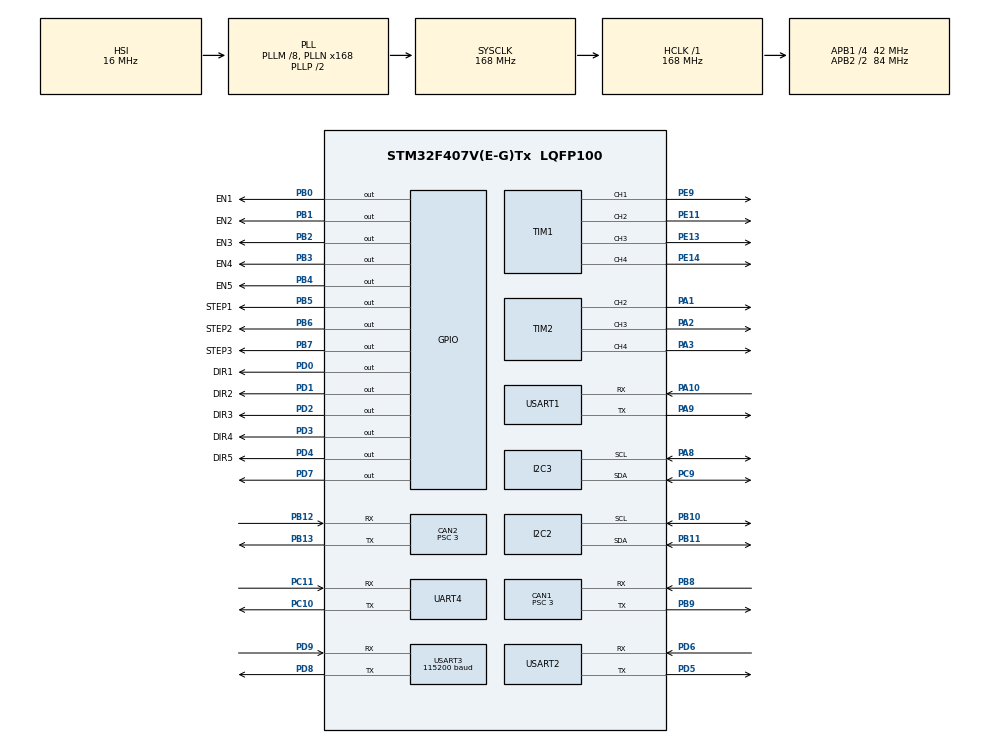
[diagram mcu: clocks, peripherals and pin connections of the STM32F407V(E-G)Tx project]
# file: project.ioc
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CAN1.BS1=CAN_BS1_10TQ
CAN1.BS2=CAN_BS2_3TQ
CAN1.CalculateBaudRate=1000000
CAN1.CalculateTimeBit=1000
CAN1.CalculateTimeQuantum=71.42857142857143
CAN1.Prescaler=3
CAN2.BS1=CAN_BS1_10TQ
CAN2.BS2=CAN_BS2_3TQ
CAN2.CalculateBaudRate=1000000
CAN2.CalculateTimeBit=1000
CAN2.CalculateTimeQuantum=71.42857142857143
CAN2.Prescaler=3
Dma.Request0=USART2_RX
Dma.USART2_RX.0.Direction=DMA_PERIPH_TO_MEMORY
Dma.USART2_RX.0.FIFOMode=DMA_FIFOMODE_DISABLE
Dma.USART2_RX.0.Instance=DMA1_Stream5
Dma.USART2_RX.0.MemDataAlignment=DMA_MDATAALIGN_BYTE
Dma.USART2_RX.0.MemInc=DMA_MINC_ENABLE
Dma.USART2_RX.0.Mode=DMA_NORMAL
Dma.USART2_RX.0.PeriphDataAlignment=DMA_PDATAALIGN_BYTE
Dma.USART2_RX.0.PeriphInc=DMA_PINC_DISABLE
Dma.USART2_RX.0.Priority=DMA_PRIORITY_VERY_HIGH
FREERTOS.Tasks01=defaultTask,24,128,StartDefaultTask,Default,NULL,Dynamic,NULL,NULL;LCDTask,8,128,LCDCtrl,Default,NULL,Dynamic,NULL,NULL
FREERTOS.configUSE_NEWLIB_REENTRANT=1
I2C2.I2C_Mode=I2C_Fast
Mcu.Family=STM32F4
Mcu.Name=STM32F407V(E-G)Tx
Mcu.Package=LQFP100
NVIC.CAN1_RX0_IRQn=true\:5\:0\:false\:false\:true\:true\:true\:true\:true
NVIC.CAN1_RX1_IRQn=true\:5\:0\:false\:false\:true\:true\:true\:true\:true
NVIC.CAN1_TX_IRQn=true\:5\:0\:false\:false\:true\:true\:true\:true\:true
NVIC.CAN2_RX0_IRQn=true\:5\:0\:false\:false\:true\:true\:true\:true\:true
NVIC.CAN2_RX1_IRQn=true\:5\:0\:false\:false\:true\:true\:true\:true\:true
NVIC.CAN2_TX_IRQn=true\:5\:0\:false\:false\:true\:true\:true\:true\:true
NVIC.DMA1_Stream5_IRQn=true\:5\:0\:true\:false\:true\:true\:false\:true\:true
NVIC.PriorityGroup=NVIC_PRIORITYGROUP_4
NVIC.TIM1_BRK_TIM9_IRQn=true\:5\:0\:false\:false\:true\:true\:true\:true\:true
NVIC.TIM2_IRQn=true\:5\:0\:false\:false\:true\:true\:true\:true\:true
NVIC.TIM7_IRQn=true\:15\:0\:false\:false\:true\:false\:false\:true\:true
NVIC.TimeBase=TIM7_IRQn
NVIC.TimeBaseIP=TIM7
NVIC.UART4_IRQn=true\:5\:0\:false\:false\:true\:true\:true\:true\:true
NVIC.USART1_IRQn=true\:5\:0\:false\:false\:true\:true\:true\:true\:true
NVIC.USART2_IRQn=true\:5\:0\:false\:false\:true\:true\:true\:true\:true
NVIC.USART3_IRQn=true\:5\:0\:false\:false\:true\:true\:true\:true\:true
PA1.Signal=S_TIM2_CH2
PA10.Mode=Asynchronous
PA10.Signal=USART1_RX
PA13.Mode=Serial_Wire
PA13.Signal=SYS_JTMS-SWDIO
PA14.Mode=Serial_Wire
PA14.Signal=SYS_JTCK-SWCLK
PA2.Signal=S_TIM2_CH3
PA3.Signal=S_TIM2_CH4
PA8.Mode=I2C
PA8.Signal=I2C3_SCL
PA9.Mode=Asynchronous
PA9.Signal=USART1_TX
PB0.GPIO_Label=EN1
PB0.GPIO_ModeDefaultOutputPP=GPIO_MODE_OUTPUT_OD
PB0.GPIO_PuPd=GPIO_NOPULL
PB0.GPIO_Speed=GPIO_SPEED_FREQ_HIGH
PB0.PinState=GPIO_PIN_SET
PB0.Signal=GPIO_Output
PB1.GPIO_Label=EN2
PB1.GPIO_ModeDefaultOutputPP=GPIO_MODE_OUTPUT_OD
PB1.GPIO_PuPd=GPIO_NOPULL
PB1.GPIO_Speed=GPIO_SPEED_FREQ_HIGH
PB1.PinState=GPIO_PIN_SET
PB1.Signal=GPIO_Output
PB10.Mode=I2C
PB10.Signal=I2C2_SCL
PB11.Mode=I2C
PB11.Signal=I2C2_SDA
PB12.Mode=CAN_Activate
PB12.Signal=CAN2_RX
PB13.Mode=CAN_Activate
PB13.Signal=CAN2_TX
PB2.GPIO_Label=EN3
PB2.GPIO_ModeDefaultOutputPP=GPIO_MODE_OUTPUT_PP
PB2.GPIO_PuPd=GPIO_NOPULL
PB2.GPIO_Speed=GPIO_SPEED_FREQ_HIGH
PB2.PinState=GPIO_PIN_RESET
PB2.Signal=GPIO_Output
PB3.GPIO_Label=EN4
PB3.GPIO_ModeDefaultOutputPP=GPIO_MODE_OUTPUT_OD
PB3.GPIO_PuPd=GPIO_NOPULL
PB3.GPIO_Speed=GPIO_SPEED_FREQ_HIGH
PB3.PinState=GPIO_PIN_SET
PB3.Signal=GPIO_Output
PB4.GPIO_Label=EN5
PB4.GPIO_ModeDefaultOutputPP=GPIO_MODE_OUTPUT_OD
PB4.GPIO_PuPd=GPIO_NOPULL
PB4.GPIO_Speed=GPIO_SPEED_FREQ_HIGH
PB4.PinState=GPIO_PIN_SET
PB4.Signal=GPIO_Output
PB5.GPIO_Label=STEP1
PB5.GPIO_ModeDefaultOutputPP=GPIO_MODE_OUTPUT_OD
PB5.GPIO_PuPd=GPIO_NOPULL
PB5.GPIO_Speed=GPIO_SPEED_FREQ_HIGH
PB5.PinState=GPIO_PIN_SET
PB5.Signal=GPIO_Output
PB6.GPIO_Label=STEP2
PB6.GPIO_ModeDefaultOutputPP=GPIO_MODE_OUTPUT_OD
PB6.GPIO_PuPd=GPIO_NOPULL
PB6.GPIO_Speed=GPIO_SPEED_FREQ_HIGH
PB6.PinState=GPIO_PIN_SET
PB6.Signal=GPIO_Output
PB7.GPIO_Label=STEP3
PB7.GPIO_ModeDefaultOutputPP=GPIO_MODE_OUTPUT_OD
PB7.GPIO_PuPd=GPIO_NOPULL
PB7.GPIO_Speed=GPIO_SPEED_FREQ_HIGH
PB7.PinState=GPIO_PIN_SET
PB7.Signal=GPIO_Output
PB8.Mode=CAN_Activate
PB8.Signal=CAN1_RX
PB9.Mode=CAN_Activate
PB9.Signal=CAN1_TX
PC10.Mode=Asynchronous
PC10.Signal=UART4_TX
PC11.Mode=Asynchronous
PC11.Signal=UART4_RX
PC9.Mode=I2C
PC9.Signal=I2C3_SDA
PD0.GPIO_Label=DIR1
PD0.Signal=GPIO_Output
PD1.GPIO_Label=DIR2
PD1.Signal=GPIO_Output
PD2.GPIO_Label=DIR3
PD2.Signal=GPIO_Output
PD3.GPIO_Label=DIR4
PD3.Signal=GPIO_Output
PD4.GPIO_Label=DIR5
PD4.Signal=GPIO_Output
PD5.Mode=Asynchronous
PD5.Signal=USART2_TX
PD6.Mode=Asynchronous
PD6.Signal=USART2_RX
PD7.Signal=GPIO_Output
PD8.Mode=Asynchronous
PD8.Signal=USART3_TX
PD9.Mode=Asynchronous
PD9.Signal=USART3_RX
PE11.Signal=S_TIM1_CH2
PE13.Signal=S_TIM1_CH3
PE14.Signal=S_TIM1_CH4
PE9.Signal=S_TIM1_CH1
ProjectManager.HeapSize=0x200
ProjectManager.StackSize=0x400
ProjectManager.TargetToolchain=Makefile
RCC.48MHZClocksFreq_Value=84000000
RCC.AHBFreq_Value=168000000
RCC.APB1CLKDivider=RCC_HCLK_DIV4
RCC.APB1Freq_Value=42000000
RCC.APB1TimFreq_Value=84000000
RCC.APB2CLKDivider=RCC_HCLK_DIV2
RCC.APB2Freq_Value=84000000
RCC.APB2TimFreq_Value=168000000
RCC.CortexFreq_Value=168000000
RCC.HCLKFreq_Value=168000000
RCC.HSE_VALUE=25000000
RCC.HSI_VALUE=16000000
RCC.LSE_VALUE=32768
RCC.PLLM=8
RCC.PLLN=168
RCC.SYSCLKFreq_VALUE=168000000
RCC.SYSCLKSource=RCC_SYSCLKSOURCE_PLLCLK
RCC.VCOOutputFreq_Value=336000000
SH.S_TIM1_CH1.0=TIM1_CH1,PWM Generation1 CH1
SH.S_TIM1_CH2.0=TIM1_CH2,PWM Generation2 CH2
SH.S_TIM1_CH3.0=TIM1_CH3,PWM Generation3 CH3
SH.S_TIM1_CH4.0=TIM1_CH4,PWM Generation4 CH4
SH.S_TIM2_CH2.0=TIM2_CH2,PWM Generation2 CH2
SH.S_TIM2_CH3.0=TIM2_CH3,PWM Generation3 CH3
SH.S_TIM2_CH4.0=TIM2_CH4,PWM Generation4 CH4
TIM1.Channel-PWM\ Generation1\ CH1=TIM_CHANNEL_1
TIM1.Channel-PWM\ Generation2\ CH2=TIM_CHANNEL_2
TIM1.Channel-PWM\ Generation3\ CH3=TIM_CHANNEL_3
TIM1.Channel-PWM\ Generation4\ CH4=TIM_CHANNEL_4
TIM2.Channel-PWM\ Generation2\ CH2=TIM_CHANNEL_2
TIM2.Channel-PWM\ Generation3\ CH3=TIM_CHANNEL_3
TIM2.Channel-PWM\ Generation4\ CH4=TIM_CHANNEL_4
UART4.VirtualMode=Asynchronous
USART1.VirtualMode=VM_ASYNC
USART2.VirtualMode=VM_ASYNC
USART3.BaudRate=115200
USART3.VirtualMode=VM_ASYNC
VP_FREERTOS_VS_CMSIS_V2.Mode=CMSIS_V2
VP_SYS_VS_tim7.Mode=TIM7
VP_TIM1_VS_ClockSourceINT.Mode=Internal
VP_TIM2_VS_ClockSourceINT.Mode=Internal
board=custom

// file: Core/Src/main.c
/* USER CODE BEGIN Header */
/**
 ******************************************************************************
 * @file           : main.c
 * @brief          : Main program body
 ******************************************************************************
 * @attention
 *
 * Copyright (c) 2024 STMicroelectronics.
 * All rights reserved.
 *
 * This software is licensed under terms that can be found in the LICENSE file
 * in the root directory of this software component.
 * If no LICENSE file comes with this software, it is provided AS-IS.
 *
 ******************************************************************************
 */
/* USER CODE END Header */
#include "main.h"
#include "cmsis_os.h"
#include "can.h"
#include "dma.h"
#include "i2c.h"
#include "tim.h"
#include "usart.h"
#include "gpio.h"

/* USER CODE BEGIN Includes */
#include "oled.h"
#include "Emm_V5.h"
#include "stdio.h"

/* USER CODE END Includes */

/* USER CODE BEGIN PD */
#define DEBUG 1
/* USER CODE END PD */

/* USER CODE BEGIN PV */
uint8_t Senser_Data[48] = {0};
short Gyro_z, Angle = 10;
float angle;
/* USER CODE END PV */

void SystemClock_Config(void);
void MX_FREERTOS_Init(void);
/* USER CODE BEGIN PFP */
void HAL_UARTEx_RxEventCallback(UART_HandleTypeDef *huart, uint16_t Size)
{
  if (huart == &huart2)
  {
    HAL_UARTEx_ReceiveToIdle_DMA(&huart2, Senser_Data, sizeof(Senser_Data));
  }
}

void can_filter_init(void)
{

  CAN_FilterTypeDef can_filter_st;
  can_filter_st.FilterActivation = ENABLE;
  can_filter_st.FilterMode = CAN_FILTERMODE_IDMASK;
  can_filter_st.FilterScale = CAN_FILTERSCALE_32BIT;
  can_filter_st.FilterIdHigh = 0x0000;
  can_filter_st.FilterIdLow = 0x0000;
  can_filter_st.FilterMaskIdHigh = 0x0000;
  can_filter_st.FilterMaskIdLow = 0x0000;
  can_filter_st.FilterBank = 0;
  can_filter_st.FilterFIFOAssignment = CAN_RX_FIFO0;
  HAL_CAN_ConfigFilter(&hcan1, &can_filter_st);
  HAL_CAN_Start(&hcan1);
  HAL_CAN_ActivateNotification(&hcan1, CAN_IT_RX_FIFO0_MSG_PENDING);

  can_filter_st.SlaveStartFilterBank = 14;
  can_filter_st.FilterBank = 14;
  HAL_CAN_ConfigFilter(&hcan2, &can_filter_st);
  HAL_CAN_Start(&hcan2);
  HAL_CAN_ActivateNotification(&hcan2, CAN_IT_RX_FIFO0_MSG_PENDING);
}

/* USER CODE END PFP */

int main(void)
{

  /* MCU Configuration--------------------------------------------------------*/

  /* Reset of all peripherals, Initializes the Flash interface and the Systick. */
  HAL_Init();

  /* Configure the system clock */
  SystemClock_Config();

  /* Initialize all configured peripherals */
  MX_GPIO_Init();
  MX_DMA_Init();
  MX_CAN1_Init();
  MX_TIM1_Init();
  MX_TIM2_Init();
  MX_I2C3_Init();
  MX_USART1_UART_Init();
  MX_UART4_Init();
  MX_USART2_UART_Init();
  MX_CAN2_Init();
  MX_I2C2_Init();
  MX_USART3_UART_Init();
  /* USER CODE BEGIN 2 */
  HAL_UARTEx_ReceiveToIdle_DMA(&huart2,Senser_Data, sizeof(Senser_Data));
  // OLED_Init();
  can_filter_init();
  static char str[32] = {0};
  HAL_Delay(1500);
#if DEBUG == 1
  sprintf(str, "page Debug\xFF\xFF\xFF");
  HAL_UART_Transmit_IT(&huart3, (uint8_t *)str, strlen(str));
#endif
  // HAL_UART_Transmit(&huart3, (uint8_t *)str, strlen(str), 10);

  /* USER CODE END 2 */

  /* Init scheduler */
  osKernelInitialize();

  /* Call init function for freertos objects (in freertos.c) */
  MX_FREERTOS_Init();

  /* Start scheduler */
  osKernelStart();

  /* We should never get here as control is now taken by the scheduler */
  /* Infinite loop */
  /* USER CODE BEGIN WHILE */
  // Emm_V5_Pos_Control(1, 0, 10, 0, 3200, 0, 0);

  while (1)
  {
    // Emm_V5_Read_Sys_Params(1, S_CPOS);
    // HAL_UART_Transmit(&huart4, (uint8_t *)str, 16, 10);

    // Emm_V5_Synchronous_motion(0);
    // HAL_Delay(1);
    // Emm_V5_Synchronous_motion(0);

    HAL_GPIO_TogglePin(GPIOB, GPIO_PIN_2);

    HAL_Delay(10);
    /* USER CODE END WHILE */

  }
}

void SystemClock_Config(void)
{
  RCC_OscInitTypeDef RCC_OscInitStruct = {0};
  RCC_ClkInitTypeDef RCC_ClkInitStruct = {0};

  /** Configure the main internal regulator output voltage
  */
  __HAL_RCC_PWR_CLK_ENABLE();
  __HAL_PWR_VOLTAGESCALING_CONFIG(PWR_REGULATOR_VOLTAGE_SCALE1);

  /** Initializes the RCC Oscillators according to the specified parameters
  * in the RCC_OscInitTypeDef structure.
  */
  RCC_OscInitStruct.OscillatorType = RCC_OSCILLATORTYPE_HSI;
  RCC_OscInitStruct.HSIState = RCC_HSI_ON;
  RCC_OscInitStruct.HSICalibrationValue = RCC_HSICALIBRATION_DEFAULT;
  RCC_OscInitStruct.PLL.PLLState = RCC_PLL_ON;
  RCC_OscInitStruct.PLL.PLLSource = RCC_PLLSOURCE_HSI;
  RCC_OscInitStruct.PLL.PLLM = 8;
  RCC_OscInitStruct.PLL.PLLN = 168;
  RCC_OscInitStruct.PLL.PLLP = RCC_PLLP_DIV2;
  RCC_OscInitStruct.PLL.PLLQ = 4;
  if (HAL_RCC_OscConfig(&RCC_OscInitStruct) != HAL_OK)
  {
    Error_Handler();
  }

  /** Initializes the CPU, AHB and APB buses clocks
  */
  RCC_ClkInitStruct.ClockType = RCC_CLOCKTYPE_HCLK|RCC_CLOCKTYPE_SYSCLK
                              |RCC_CLOCKTYPE_PCLK1|RCC_CLOCKTYPE_PCLK2;
  RCC_ClkInitStruct.SYSCLKSource = RCC_SYSCLKSOURCE_PLLCLK;
  RCC_ClkInitStruct.AHBCLKDivider = RCC_SYSCLK_DIV1;
  RCC_ClkInitStruct.APB1CLKDivider = RCC_HCLK_DIV4;
  RCC_ClkInitStruct.APB2CLKDivider = RCC_HCLK_DIV2;

  if (HAL_RCC_ClockConfig(&RCC_ClkInitStruct, FLASH_LATENCY_5) != HAL_OK)
  {
    Error_Handler();
  }
}

void HAL_TIM_PeriodElapsedCallback(TIM_HandleTypeDef *htim)
{
  if (htim->Instance == TIM7) {
    HAL_IncTick();
  }
}

void Error_Handler(void)
{
  __disable_irq();
  while (1)
  {
  }
}

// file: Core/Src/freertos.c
/* USER CODE BEGIN Header */
/**
 ******************************************************************************
 * File Name          : freertos.c
 * Description        : Code for freertos applications
 ******************************************************************************
 * @attention
 *
 * Copyright (c) 2024 STMicroelectronics.
 * All rights reserved.
 *
 * This software is licensed under terms that can be found in the LICENSE file
 * in the root directory of this software component.
 * If no LICENSE file comes with this software, it is provided AS-IS.
 *
 ******************************************************************************
 */
/* USER CODE END Header */

#include "FreeRTOS.h"
#include "task.h"
#include "main.h"
#include "cmsis_os.h"

/* USER CODE BEGIN Includes */
#include "oled.h"
#include "Emm_V5.h"
#include "stdio.h"
#include "can.h"
#include "dma.h"
#include "i2c.h"
#include "tim.h"
#include "usart.h"
#include "gpio.h"
#include "motor.h"
/* USER CODE END Includes */

/* USER CODE BEGIN Variables */
char str[32] = {0};
extern short Gyro_z, Angle;
extern float angle;
extern uint8_t Senser_Data[48];
extern int32_t Motor1_Pos;
/* USER CODE END Variables */
/* Definitions for defaultTask */
osThreadId_t defaultTaskHandle;
const osThreadAttr_t defaultTask_attributes = {
  .name = "defaultTask",
  .stack_size = 128 * 4,
  .priority = (osPriority_t) osPriorityNormal,
};
/* Definitions for LCDTask */
osThreadId_t LCDTaskHandle;
const osThreadAttr_t LCDTask_attributes = {
  .name = "LCDTask",
  .stack_size = 128 * 4,
  .priority = (osPriority_t) osPriorityLow,
};

void StartDefaultTask(void *argument);
void LCDCtrl(void *argument);

void MX_FREERTOS_Init(void); /* (MISRA C 2004 rule 8.1) */

void MX_FREERTOS_Init(void) {

  /* Create the thread(s) */
  /* creation of defaultTask */
  defaultTaskHandle = osThreadNew(StartDefaultTask, NULL, &defaultTask_attributes);

  /* creation of LCDTask */
  LCDTaskHandle = osThreadNew(LCDCtrl, NULL, &LCDTask_attributes);

}

void StartDefaultTask(void *argument)
{
  /* USER CODE BEGIN StartDefaultTask */
  /* Infinite loop */

  int16_t i = -1, p = 2;
  for (;;)
  {
    Motor_Pos_Ctrl(0, i * 6400, 200, 0); // 16细分下 3200->360°
    i = -i;
    osDelay(4000);
  }
  /* USER CODE END StartDefaultTask */
}

void LCDCtrl(void *argument)
{
  /* USER CODE BEGIN LCDCtrl */
  /* Infinite loop */
  for (;;)
  {
    HAL_GPIO_TogglePin(GPIOB, GPIO_PIN_2);
    angle = ((float)((short)((short)Senser_Data[18]) << 8 | Senser_Data[17])) * 180 / 32768;
    Angle = (short)(angle * 10);
    sprintf(str, "angle.txt=\"%d\"\xFF\xFF\xFF", Angle);
    HAL_UART_Transmit(&huart3, (uint8_t *)str, strlen(str), 10);
    sprintf(str, "motor1_pos.txt=\"%ld\"\xFF\xFF\xFF", Motor1_Pos * 360 / 65536);
    HAL_UART_Transmit(&huart3, (uint8_t *)str, strlen(str), 10);
    // OLED_NewFrame();
    osDelay(100);
    Emm_V5_Read_Sys_Params(1, S_CPOS);
    // HAL_UART_Receive_DMA(&huart2, Senser_Data, 22);
  }
  /* USER CODE END LCDCtrl */
}
